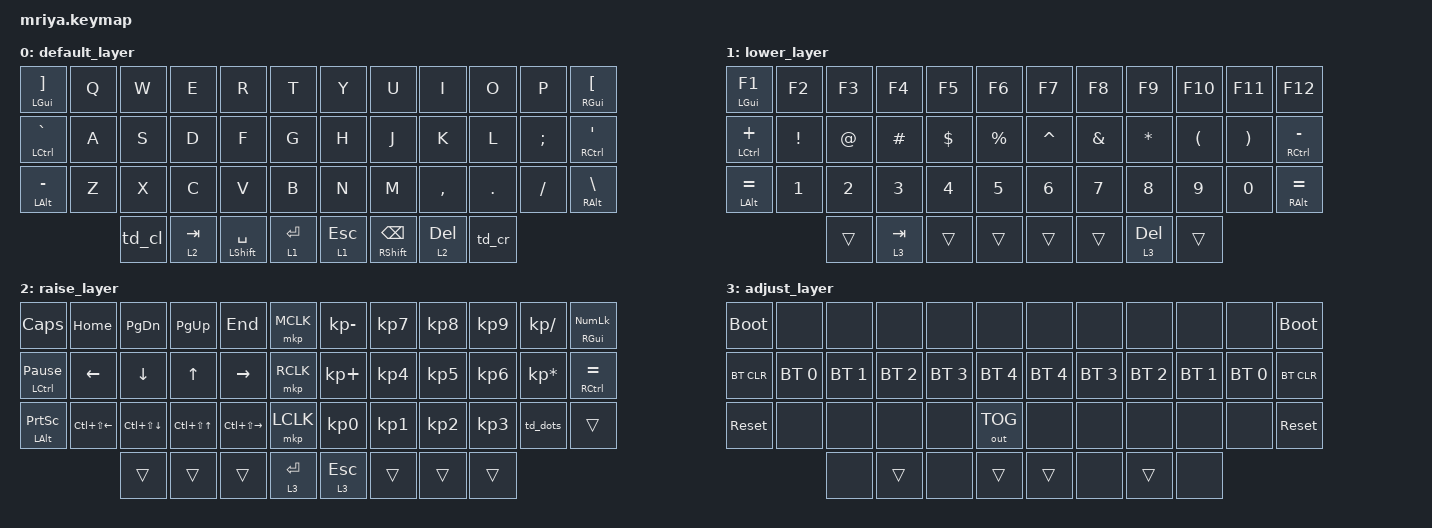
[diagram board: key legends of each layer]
/*
 * Copyright (c) 2023 Andrei Gaevskii
 *
 * SPDX-License-Identifier: MIT
 */

#include <dt-bindings/zmk/mouse.h>
#include <behaviors.dtsi>
#include <dt-bindings/zmk/bt.h>
#include <dt-bindings/zmk/keys.h>
#include <dt-bindings/zmk/outputs.h>
#include <dt-bindings/zmk/pointing.h>

#define DEF 0
#define LWR 1
#define RSE 2
#define ADJ 3

&lt { quick_tap_ms = <200>; };

&mt { quick_tap_ms = <200>; };

/ {
    behaviors {
        td_cl: td_cl {
            compatible = "zmk,behavior-tap-dance";
            label = "TD_CL";
            #binding-cells = <0>;
            bindings = <&kp LEFT>, <&kp LC(LEFT)>;
        };

        td_cr: td_cr {
            compatible = "zmk,behavior-tap-dance";
            label = "TD_CR";
            #binding-cells = <0>;
            bindings = <&kp RIGHT>, <&kp LC(RIGHT)>;
        };

        td_sm: td_sm {
            compatible = "zmk,behavior-tap-dance";
            label = "TD_SM";
            #binding-cells = <0>;
            bindings = <&kp K_MUTE>, <&kp LC(LS(A))>;
        };

        td_dots: td_dots {
            compatible = "zmk,behavior-tap-dance";
            label = "TD_DOTS";
            #binding-cells = <0>;
            bindings = <&kp KP_DOT>, <&kp SEMICOLON>, <&kp LS(SEMICOLON)>;
        };

        hrm: hrm {
            compatible = "zmk,behavior-hold-tap";
            bindings = <&kp>, <&kp>;

            #binding-cells = <2>;
            tapping-term-ms = <200>;
            quick-tap-ms = <200>;
            require-prior-idle-ms = <125>;
            flavor = "tap-preferred";
        };
    };

    combos {
        compatible = "zmk,combos";

        l_br {
            bindings = <&kp LEFT_PARENTHESIS>;
            key-positions = <19 20>;
            layers = <2>;
        };

        eq {
            bindings = <&kp EQUAL>;
            key-positions = <30 31>;
            layers = <2>;
        };

        r_br {
            bindings = <&kp RIGHT_PARENTHESIS>;
            key-positions = <21 22>;
            layers = <2>;
        };

        l_sq_br {
            bindings = <&kp LEFT_BRACKET>;
            key-positions = <7 8>;
            layers = <2>;
        };

        r_sq_br {
            bindings = <&kp RIGHT_BRACKET>;
            key-positions = <9 10>;
            layers = <2>;
        };

        f_for {
            bindings = <&kp F4>;
            key-positions = <10 11>;
            layers = <2>;
        };

        esc {
            bindings = <&kp ESCAPE>;
            key-positions = <0 1>;
        };

        t2 {
            bindings = <&tog 2>;
            key-positions = <36 43>;
        };

        l_fig_br {
            bindings = <&kp LEFT_BRACE>;
            key-positions = <31 32>;
            layers = <2>;
        };

        r_fig_br {
            bindings = <&kp RIGHT_BRACE>;
            key-positions = <33 34>;
            layers = <2>;
        };
    };

    keymap {
        compatible = "zmk,keymap";

        default_layer {
            bindings = <
  &mt LGUI RBKT       &kp Q  &kp W   &kp E      &kp R             &kp T           &kp Y         &kp U                 &kp I         &kp O    &kp P     &mt RGUI LBKT
  &mt LCTRL GRAVE     &kp A  &kp S   &kp D      &kp F             &kp G           &kp H         &kp J                 &kp K         &kp L    &kp SEMI  &mt RCTRL SQT
  &mt LEFT_ALT MINUS  &kp Z  &kp X   &kp C      &kp V             &kp B           &kp N         &kp M                 &kp COMMA     &kp DOT  &kp FSLH  &mt RALT BSLH
                             &td_cl  &lt 2 TAB  &mt LSHIFT SPACE  &lt 1 RETURN    &lt 1 ESCAPE  &mt RSHIFT BACKSPACE  &lt 2 DELETE  &td_cr
            >;
        };

        lower_layer {
            bindings = <
  &mt LEFT_GUI F1  &kp F2    &kp F3  &kp F4     &kp F5    &kp F6       &kp F7     &kp F8    &kp F9        &kp F10   &kp F11   &kp F12
  &mt LCTRL PLUS   &kp EXCL  &kp AT  &kp HASH   &kp DLLR  &kp PRCNT    &kp CARET  &kp AMPS  &kp STAR      &kp LPAR  &kp RPAR  &mt RCTRL MINUS
  &mt LALT EQUAL   &kp N1    &kp N2  &kp N3     &kp N4    &kp N5       &kp N6     &kp N7    &kp N8        &kp N9    &kp N0    &mt RALT EQUAL
                             &trans  &lt 3 TAB  &trans    &trans       &trans     &trans    &lt 3 DELETE  &trans
            >;
        };

        raise_layer {
            bindings = <
  &kp CAPS                  &kp HOME          &kp PAGE_DOWN     &kp PAGE_UP           &kp END            &mkp MCLK       &kp KP_MINUS  &kp KP_N7  &kp KP_N8  &kp KP_N9  &kp KP_SLASH     &mt RIGHT_GUI KP_NLCK
  &mt LCTRL PAUSE_BREAK     &kp LEFT_ARROW    &kp DOWN          &kp UP_ARROW          &kp RIGHT          &mkp RCLK       &kp KP_PLUS   &kp KP_N4  &kp KP_N5  &kp KP_N6  &kp KP_MULTIPLY  &mt RCTRL EQUAL
  &mt LEFT_ALT PRINTSCREEN  &kp LC(LS(LEFT))  &kp LC(LS(DOWN))  &kp LC(LS(UP_ARROW))  &kp LC(LS(RIGHT))  &mkp LCLK       &kp KP_N0     &kp KP_N1  &kp KP_N2  &kp KP_N3  &td_dots         &trans
                                              &trans            &trans                &trans             &lt 3 RETURN    &lt 3 ESCAPE  &trans     &trans     &trans
            >;
        };

        adjust_layer {
            bindings = <
  &bootloader  &none         &none         &none         &none         &none           &none         &none         &none         &none         &none         &bootloader
  &bt BT_CLR   &bt BT_SEL 0  &bt BT_SEL 1  &bt BT_SEL 2  &bt BT_SEL 3  &bt BT_SEL 4    &bt BT_SEL 4  &bt BT_SEL 3  &bt BT_SEL 2  &bt BT_SEL 1  &bt BT_SEL 0  &bt BT_CLR
  &sys_reset   &none         &none         &none         &none         &out OUT_TOG    &none         &none         &none         &none         &none         &sys_reset
                             &none         &trans        &none         &trans          &trans        &none         &trans        &none
            >;
        };
    };
};
